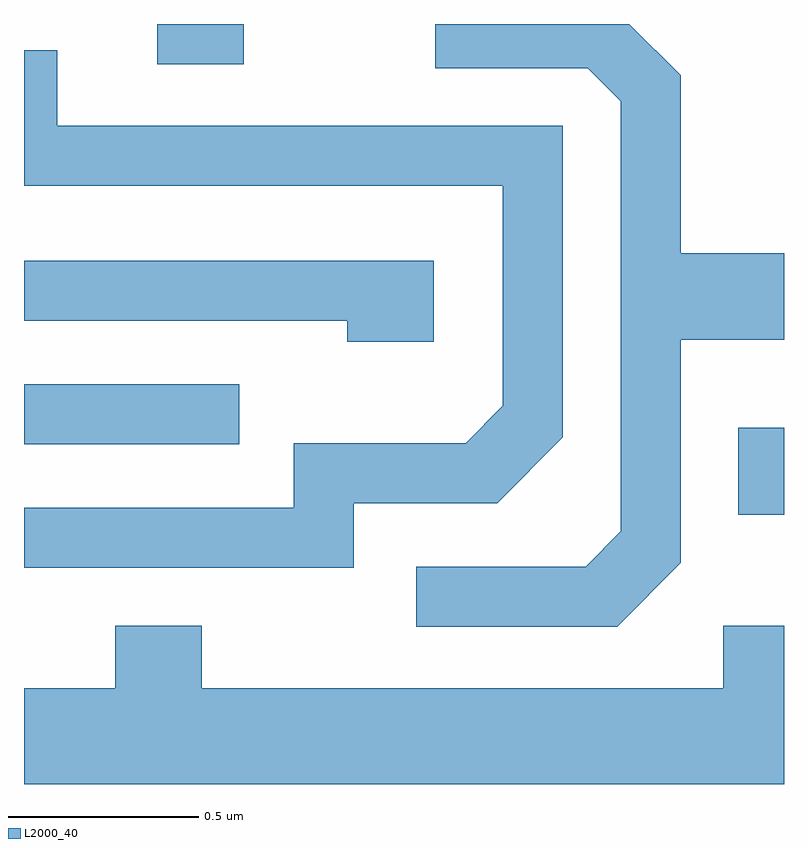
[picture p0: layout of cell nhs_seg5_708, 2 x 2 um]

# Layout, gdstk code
import gdstk
lib = gdstk.Library(unit=1e-6, precision=1e-09)
def R(c, l, rs):  # rectangles x0, y0, x1, y1
    for r in rs: c.add(gdstk.rectangle(r[:2], r[2:], *l))
def P(c, l, *ps):  # polygons
    for p in ps: c.add(gdstk.Polygon(p, *l))
L2000_40 = (2000, 40)

nhs_seg5_708 = lib.new_cell('nhs_seg5_708')
R(nhs_seg5_708, L2000_40, [(192.491,1419.781,192.611,1420.009), (190.611,1419.966,191.178,1420.124), (190.961,1420.966,191.189,1421.072)])
P(nhs_seg5_708, L2000_40, [(192.339,1419.654),(192.339,1420.241),(192.611,1420.241),(192.611,1420.469),(192.339,1420.469),(192.339,1420.937),(192.204,1421.072),(191.693,1421.072),(191.693,1420.956),(192.094,1420.956),(192.181,1420.869),(192.181,1419.737),(192.089,1419.644),(191.643,1419.644),(191.643,1419.486),(192.172,1419.486)],
  [(191.479,1419.811),(191.857,1419.811),(192.029,1419.984),(192.029,1420.804),(190.699,1420.804),(190.699,1421.003),(190.611,1421.003),(190.611,1420.646),(191.871,1420.646),(191.871,1420.067),(191.774,1419.969),(191.321,1419.969),(191.321,1419.799),(190.611,1419.799),(190.611,1419.641),(191.479,1419.641)],
  [(191.689,1420.449),(190.611,1420.449),(190.611,1420.291),(191.461,1420.291),(191.461,1420.236),(191.689,1420.236)],
  [(192.611,1419.489),(192.451,1419.489),(192.451,1419.324),(191.079,1419.324),(191.079,1419.489),(190.851,1419.489),(190.851,1419.324),(190.611,1419.324),(190.611,1419.072),(192.611,1419.072)])

lib.write_gds('nhs_seg5_708.gds')
